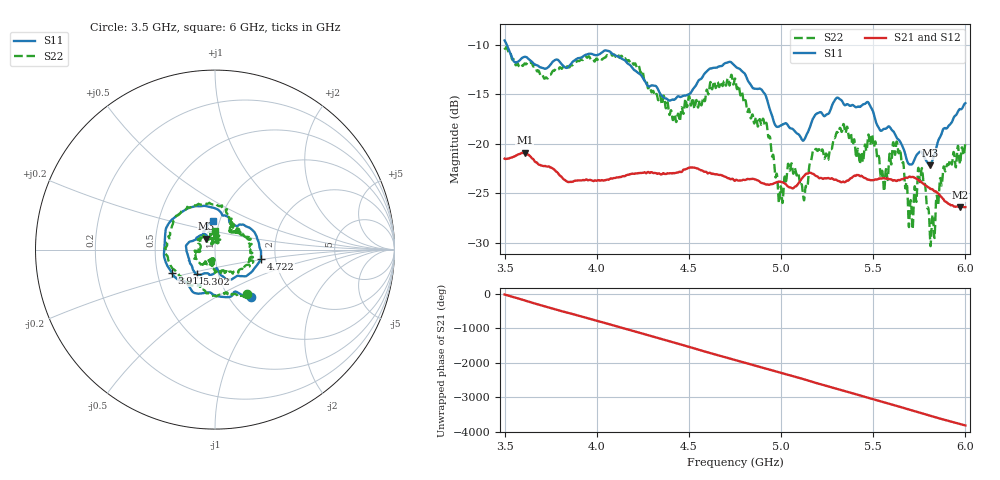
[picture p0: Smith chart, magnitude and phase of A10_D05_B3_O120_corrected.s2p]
! Created with skrf 1.9.0 (http://scikit-rf.org).
# Hz S RI R 50.0
!freq ReS11 ImS11 ReS21 ImS21 ReS12 ImS12 ReS22 ImS22
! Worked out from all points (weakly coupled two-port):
!   1601 points, 3.5 GHz to 6 GHz, reference 50 ohm
!   highest |S21| = -20.90 dB at 3.609 GHz (marker M1); lowest = -26.4 dB at 5.97 GHz (marker M2)
!   lowest |S11| = -22.2 dB at 5.806 GHz (marker M3), VSWR 1.17, Z = 45.1 + j5.59 ohm
!   |S11| at or under -10 dB: 3.513 GHz to end of sweep
!   |S22| runs from -30.4 to -10.2 dB; largest |S21 - S12| = 0.001
!   S11 on the Smith chart (normalised r, x): 3.5 GHz: 1.26, -0.75; 3.911 GHz: 0.60, -0.17; 4.722 GHz: 1.67, -0.18; 5.302 GHz: 0.79, -0.22; 6 GHz: 0.93, +0.31
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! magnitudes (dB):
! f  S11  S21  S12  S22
! 3.5 GHz  -9.5  -21.5  -21.5  -10.3
! 3.609 GHz  -11.2  -20.9  -20.9  -11.8
! 3.911 GHz  -11.3  -23.7  -23.7  -11.5
! 3.917 GHz  -11.3  -23.7  -23.7  -11.5
! 4.142 GHz  -11.4  -23.3  -23.3  -11.4
! 4.334 GHz  -14.6  -23.0  -23.0  -15.6
! 4.441 GHz  -15.2  -22.9  -22.9  -17.0
! 4.722 GHz  -11.7  -23.5  -23.5  -14.0
! 4.75 GHz  -12.1  -23.7  -23.7  -13.4
! 4.914 GHz  -15.0  -24.1  -24.1  -18.1
! 4.997 GHz  -18.2  -23.8  -23.8  -24.4
! 5.048 GHz  -18.4  -24.4  -24.4  -22.7
! 5.13 GHz  -19.4  -23.1  -23.1  -24.8
! 5.167 GHz  -17.7  -23.0  -23.0  -21.3
! 5.302 GHz  -15.3  -23.7  -23.6  -18.8
! 5.584 GHz  -18.2  -23.6  -23.5  -21.9
! 5.638 GHz  -19.6  -23.7  -23.6  -20.9
! 5.703 GHz  -22.1  -23.4  -23.3  -25.7
! 5.756 GHz  -20.8  -23.8  -23.8  -23.7
! 5.806 GHz  -22.2  -24.5  -24.5  -28.7
! 5.97 GHz  -16.5  -26.4  -26.4  -22.1
! 6 GHz  -15.9  -26.4  -26.4  -19.9
